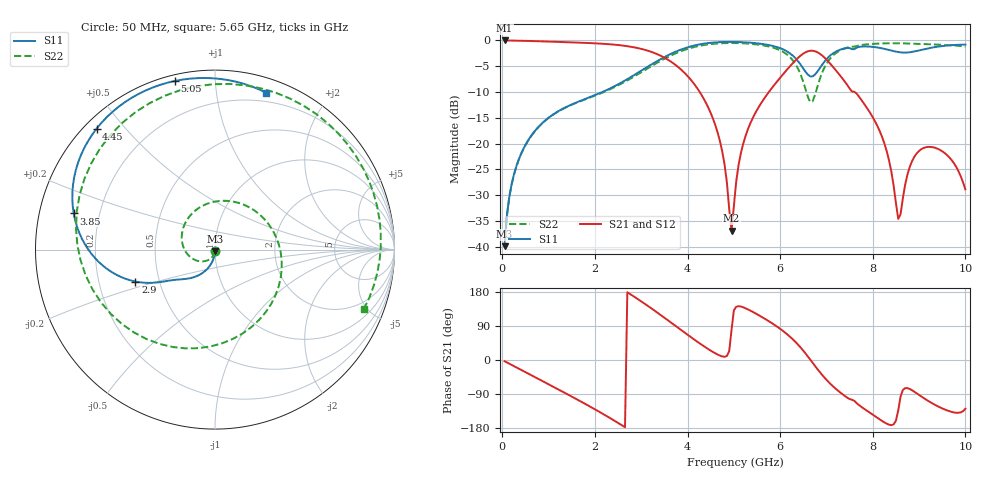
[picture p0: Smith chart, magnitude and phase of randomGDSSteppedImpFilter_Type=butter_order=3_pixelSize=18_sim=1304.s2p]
! freq	dB(S11)	phase(S11)	dB(S12)	phase(S12)
!  dB(S21)	phase(S21)	dB(S22)	phase(S22)
!S-par simulation data
#  GHz  S  DB  R 50
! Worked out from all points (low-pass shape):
!   200 points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, 50 MHz to 10 GHz, reference 50 ohm
!   highest |S21| = -0.01 dB at 50 MHz (marker M1); lowest = -36.9 dB at 4.95 GHz (marker M2)
!   |S21| within 3 dB of the highest: start of sweep to 3.429 GHz; 6.434 GHz to 6.917 GHz (482.8 MHz wide, 7.23 % of centre)
!   lowest |S11| = -39.9 dB at 50 MHz (marker M3), VSWR 1.02, Z = 50 - j1.02 ohm
!   |S11| at or under -10 dB: start of sweep to 2.161 GHz
!   |S22| runs from -39.9 to -0.5 dB; largest |S21 - S12| = 0
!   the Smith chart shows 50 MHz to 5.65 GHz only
!   S11 on the Smith chart (normalised r, x): 50 MHz: 1.00, -0.02; 2.9 GHz: 0.37, -0.17; 3.85 GHz: 0.11, +0.12; 4.45 GHz: 0.03, +0.42; 5.05 GHz: 0.03, +0.79; 5.65 GHz: 0.12, +1.37
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0.05  -39.86 -90.2  -0.01 -3.3  -0.01 -3.3  -39.86 -93.2
0.2  -27.94 -97.1  -0.03 -12.9  -0.03 -12.9  -27.98 -108.4
0.5  -20.25 -108.2  -0.08 -32.1  -0.08 -32.1  -20.31 -136.9
1.75  -11.49 -141.2  -0.46 -113.1  -0.46 -113.1  -11.56 93.8
2.9  -6.42 -158.1  -1.43 162.9  -1.43 162.9  -6.70 -57.7
3.4  -3.72 -174.0  -2.88 120.5  -2.88 120.5  -4.05 -127.4
3.85  -1.80 165.6  -5.56 80.0  -5.56 80.0  -2.12 171.3
4.45  -0.51 134.4  -13.05 28.6  -13.05 28.6  -0.77 96.4
4.75  -0.31 118.7  -21.53 9.4  -21.53 9.4  -0.54 63.5
4.95  -0.29 108.5  -36.88 79.2  -36.88 79.2  -0.50 43.3
5.05  -0.30 103.3  -27.42 140.3  -27.42 140.3  -0.51 33.5
5.65  -0.73 72.0  -11.32 110.3  -11.32 110.3  -0.98 -21.8
6.2  -2.44 40.0  -5.13 62.8  -5.13 62.8  -3.14 -81.5
6.5  -5.45 28.3  -2.55 24.6  -2.55 24.6  -8.05 -141.7
6.7  -6.97 40.3  -2.00 -7.1  -2.00 -7.1  -11.81 119.8
7.25  -1.97 24.3  -6.30 -81.1  -6.30 -81.1  -2.17 -15.0
7.85  -1.17 -29.6  -12.76 -131.9  -12.76 -131.9  -0.78 -61.6
8.35  -1.85 -103.0  -23.19 -170.7  -23.19 -170.7  -0.56 -87.8
8.55  -2.25 -145.3  -34.58 -132.8  -34.58 -132.8  -0.56 -97.1
8.8  -2.29 157.5  -24.46 -76.6  -24.46 -76.6  -0.61 -108.1
9.1  -1.72 101.0  -20.83 -100.4  -20.83 -100.4  -0.71 -120.7
10  -0.82 13.0  -28.85 -128.5  -28.85 -128.5  -1.18 -162.7
